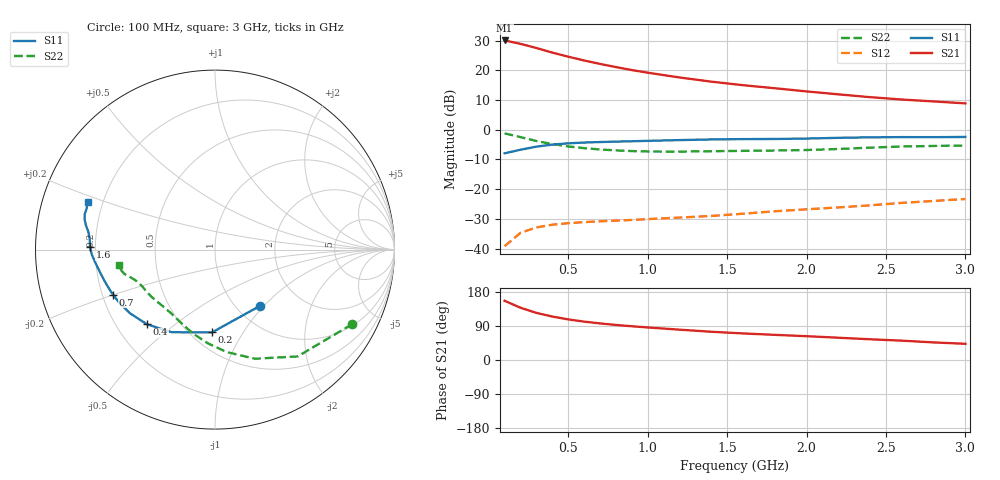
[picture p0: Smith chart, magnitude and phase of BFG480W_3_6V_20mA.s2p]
! Filename: 3_620BFG480.001
! Title: BFG480W
! Bias: Vce=3.6V; Ic=20mA
! Company: Philips Semiconductors NL
! User: Quality&Reliability T&D
! Measure time: 10 Nov 1999 / 11:59:23
#  MHz  S  MA  R 50
! Freq  S11  S21  S12  S22  :
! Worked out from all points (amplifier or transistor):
!   20 points, 100 MHz to 3 GHz, reference 50 ohm
!   highest |S21| = 30.1 dB at 100 MHz (marker M1)
!   |S21| within 3 dB of that: start of sweep to 329.8 MHz
!   unconditionally stable (mu >= 1): 1.365 GHz to end of sweep
!   at 400 MHz: K = 0.39, MSG = 29.0 dB, |S12| = -32.0 dB
!   at 1.2 GHz: K = 0.94, MSG = 23.6 dB, |S12| = -29.6 dB
!   at 3 GHz: K = 1.10, MAG = 14.2 dB, |S12| = -23.3 dB
!   S11 on the Smith chart (normalised r, x): 100 MHz: 1.27, -0.95; 200 MHz: 0.63, -0.74; 400 MHz: 0.33, -0.40; 700 MHz: 0.24, -0.20; 1.6 GHz: 0.18, +0.01; 3 GHz: 0.14, +0.18
100  0.4012 -51.6  31.93 156.2  0.01096 65.7  0.87 -28.5
200  0.4614 -92.0  28 137.9  0.0184 54.3  0.7526 -52.3
300  0.5199 -117.7  23.84 124.4  0.02265 46.8  0.6473 -69.9
400  0.5628 -132.3  19.93 114.7  0.02519 42.5  0.5748 -83.4
500  0.5913 -143.0  17.04 107.2  0.0267 40.4  0.5248 -94.1
600  0.6091 -150.5  14.7 101.3  0.02784 39.6  0.4905 -102.4
700  0.6216 -156.2  12.86 96.6  0.02872 40.0  0.4664 -109.3
800  0.6315 -160.8  11.38 92.5  0.02953 41.0  0.4492 -115.0
900  0.6409 -164.6  10.14 89.1  0.03028 42.6  0.4379 -120.1
1000  0.6507 -168.1  9.156 85.9  0.03129 44.2  0.4309 -124.8
1200  0.6703 -173.7  7.603 80.1  0.03321 47.8  0.4289 -132.9
1400  0.6868 -177.7  6.468 74.5  0.03537 51.4  0.4353 -139.2
1600  0.6966 178.8  5.636 70.1  0.03855 55.3  0.4415 -144.0
1800  0.6999 175.4  5.006 66.4  0.04238 58.9  0.4475 -148.7
2000  0.7109 172.3  4.427 62.8  0.04574 62.0  0.456 -154.0
2200  0.7316 169.3  3.951 58.8  0.04922 64.1  0.4748 -158.9
2400  0.7462 166.9  3.542 54.7  0.05339 65.6  0.5004 -162.5
2600  0.7524 164.8  3.232 51.0  0.05874 66.7  0.5226 -164.9
2800  0.751 162.2  3.001 46.4  0.06325 66.7  0.5342 -167.4
3000  0.7567 159.3  2.782 42.7  0.06826 67.1  0.543 -170.8
